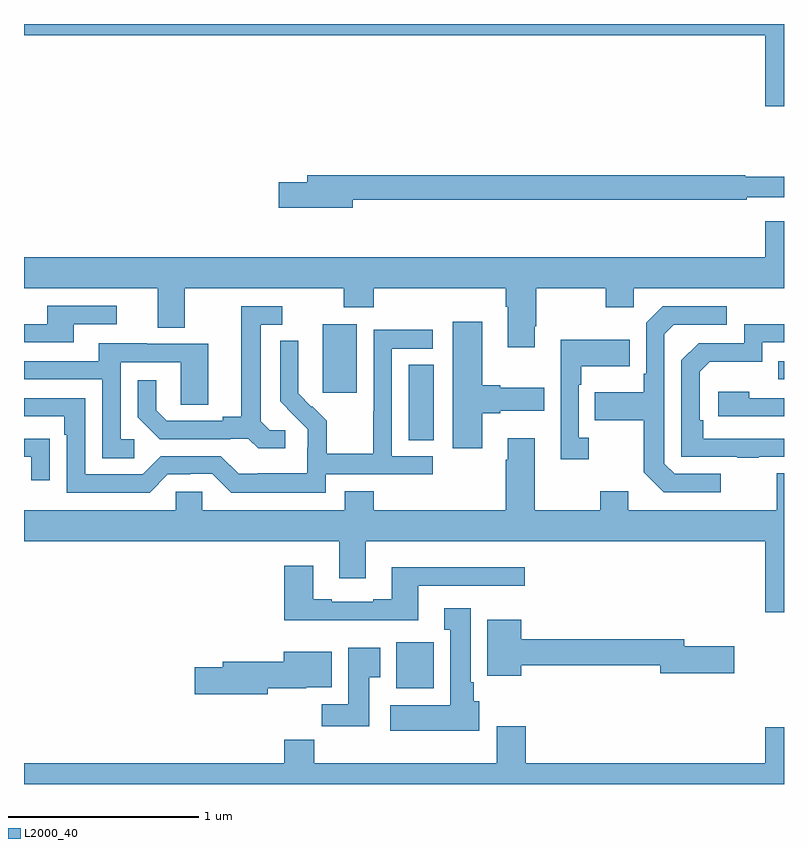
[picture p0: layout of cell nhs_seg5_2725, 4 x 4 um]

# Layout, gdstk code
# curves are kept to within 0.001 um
import gdstk
lib = gdstk.Library(unit=1e-6, precision=1e-09)
def R(c, l, rs):  # rectangles x0, y0, x1, y1
    for r in rs: c.add(gdstk.rectangle(r[:2], r[2:], *l))
def P(c, l, *ps):  # polygons
    for p in ps: c.add(gdstk.Polygon(p, *l))
L2000_40 = (2000, 40)

nhs_seg5_2725 = lib.new_cell('nhs_seg5_2725')
R(nhs_seg5_2725, L2000_40, [(270.959,873.302,271.156,873.544), (271.025,874.609,271.156,875.006), (270.572,874.857,270.751,875.218), (272.971,874.929,273,875.025)])
P(nhs_seg5_2725, L2000_40, [(273,876.799),(269,876.799),(269,876.74),(272.9,876.74),(272.9,876.366),(273,876.366)],
  [(270.73,875.874),(272.804,875.874),(272.804,875.886),(273,875.886),(273,875.995),(272.795,875.995),(272.795,876.002),(270.491,876.002),(270.491,875.966),(270.342,875.966),(270.342,875.831),(270.73,875.831)],
  [(271.687,875.209),(271.695,875.209),(271.695,875.408),(272.062,875.408),(272.062,875.309),(272.208,875.309),(272.208,875.408),(273,875.408),(273,875.761),(272.9,875.761),(272.9,875.572),(269,875.572),(269,875.408),(269.705,875.408),(269.705,875.2),(269.845,875.2),(269.845,875.408),(270.682,875.408),(270.682,875.309),(270.842,875.309),(270.842,875.408),(271.535,875.408),(271.535,875.312),(271.547,875.312),(271.547,875.097),(271.687,875.097)],
  [(269.263,875.22),(269.488,875.22),(269.488,875.316),(269.123,875.316),(269.123,875.22),(269,875.22),(269,875.124),(269.263,875.124)],
  [(272.668,874.431),(272.424,874.431),(272.37,874.485),(272.37,875.166),(272.421,875.217),(272.698,875.217),(272.698,875.313),(272.361,875.313),(272.274,875.226),(272.274,874.957),(272.262,874.957),(272.262,874.861),(272.005,874.861),(272.005,874.714),(272.262,874.714),(272.262,874.441),(272.367,874.335),(272.668,874.335)],
  [(270.376,874.662),(270.294,874.662),(270.247,874.709),(270.247,875.217),(270.358,875.217),(270.358,875.313),(270.143,875.313),(270.143,874.733),(270.047,874.733),(270.047,874.71),(269.752,874.71),(269.695,874.767),(269.695,874.924),(269.598,874.924),(269.598,874.73),(269.714,874.614),(270.086,874.614),(270.086,874.617),(270.18,874.617),(270.232,874.565),(270.376,874.565)],
  [(271.411,874.751),(271.507,874.751),(271.507,874.763),(271.738,874.763),(271.738,874.885),(271.507,874.885),(271.507,874.898),(271.411,874.898),(271.411,875.233),(271.256,875.233),(271.256,874.566),(271.411,874.566)],
  [(272.867,874.521),(273,874.521),(273,874.617),(272.576,874.617),(272.576,874.714),(272.556,874.714),(272.556,874.968),(272.609,875.021),(272.886,875.021),(272.886,875.124),(273,875.124),(273,875.22),(272.79,875.22),(272.79,875.118),(272.55,875.118),(272.46,875.028),(272.46,874.521),(272.755,874.521),(272.755,874.516),(272.867,874.516)],
  [(270.588,874.428),(271.15,874.428),(271.15,874.524),(270.936,874.524),(270.936,875.091),(271.15,875.091),(271.15,875.19),(270.84,875.19),(270.84,874.76),(270.838,874.76),(270.838,874.537),(270.593,874.537),(270.593,874.711),(270.516,874.788),(270.513,874.785),(270.443,874.856),(270.444,875.132),(270.348,875.132),(270.348,874.814),(270.494,874.666),(270.494,874.569),(270.492,874.569),(270.492,874.435),(270.229,874.435),(270.229,874.431),(270.129,874.431),(270.036,874.524),(269.721,874.524),(269.625,874.428),(269.322,874.428),(269.322,874.83),(269,874.83),(269,874.734),(269.213,874.734),(269.213,874.637),(269.226,874.637),(269.226,874.332),(269.661,874.332),(269.757,874.428),(269.876,874.428),(269.876,874.431),(269.991,874.431),(270.091,874.331),(270.588,874.331)],
  [(271.972,874.622),(271.92,874.622),(271.92,874.901),(271.933,874.901),(271.933,874.997),(272.189,874.997),(272.189,875.137),(271.824,875.137),(271.824,874.509),(271.972,874.509)],
  [(269.581,874.614),(269.508,874.614),(269.508,875.019),(269.826,875.019),(269.826,874.795),(269.971,874.795),(269.971,875.115),(269.647,875.115),(269.647,875.119),(269.393,875.119),(269.393,875.025),(269,875.025),(269,874.929),(269.412,874.929),(269.412,874.513),(269.581,874.513)],
  [(273,874.83),(272.816,874.83),(272.816,874.864),(272.655,874.864),(272.655,874.734),(273,874.734)],
  [(273,874.435),(272.963,874.435),(272.963,874.24),(272.179,874.24),(272.179,874.339),(272.032,874.339),(272.032,874.24),(271.687,874.24),(271.687,874.618),(271.547,874.618),(271.547,874.505),(271.535,874.505),(271.535,874.24),(270.842,874.24),(270.842,874.339),(270.689,874.339),(270.689,874.24),(269.937,874.24),(269.937,874.338),(269.799,874.338),(269.799,874.24),(269,874.24),(269,874.076),(270.659,874.076),(270.659,873.882),(270.799,873.882),(270.799,874.076),(272.9,874.076),(272.9,873.702),(273,873.702)],
  [(269.135,874.616),(269.033,874.616),(269.033,874.617),(269,874.617),(269,874.521),(269.039,874.521),(269.039,874.398),(269.135,874.398)],
  [(271.075,873.843),(271.636,873.843),(271.636,873.94),(270.935,873.94),(270.935,873.772),(270.839,873.772),(270.839,873.759),(270.619,873.759),(270.619,873.772),(270.523,873.772),(270.523,873.949),(270.371,873.949),(270.371,873.662),(271.075,873.662)],
  [(271.396,873.234),(271.366,873.234),(271.366,873.334),(271.351,873.334),(271.351,873.724),(271.211,873.724),(271.211,873.611),(271.244,873.611),(271.244,873.214),(270.927,873.214),(270.927,873.08),(271.396,873.08)],
  [(271.618,873.424),(272.348,873.424),(272.348,873.382),(272.737,873.382),(272.737,873.524),(272.476,873.524),(272.476,873.56),(271.618,873.56),(271.618,873.664),(271.439,873.664),(271.439,873.368),(271.618,873.368)],
  [(270.817,873.361),(270.874,873.361),(270.874,873.517),(270.707,873.517),(270.707,873.22),(270.568,873.22),(270.568,873.102),(270.817,873.102)],
  [(270.282,873.302),(270.486,873.302),(270.486,873.308),(270.619,873.308),(270.619,873.496),(270.368,873.496),(270.368,873.443),(270.047,873.443),(270.047,873.413),(269.898,873.413),(269.898,873.271),(270.282,873.271)],
  [(273,873.097),(272.9,873.097),(272.9,872.908),(271.64,872.908),(271.64,873.103),(271.487,873.103),(271.487,872.908),(270.527,872.908),(270.527,873.032),(270.371,873.032),(270.371,872.908),(269,872.908),(269,872.799),(273,872.799)])

lib.write_gds('nhs_seg5_2725.gds')
